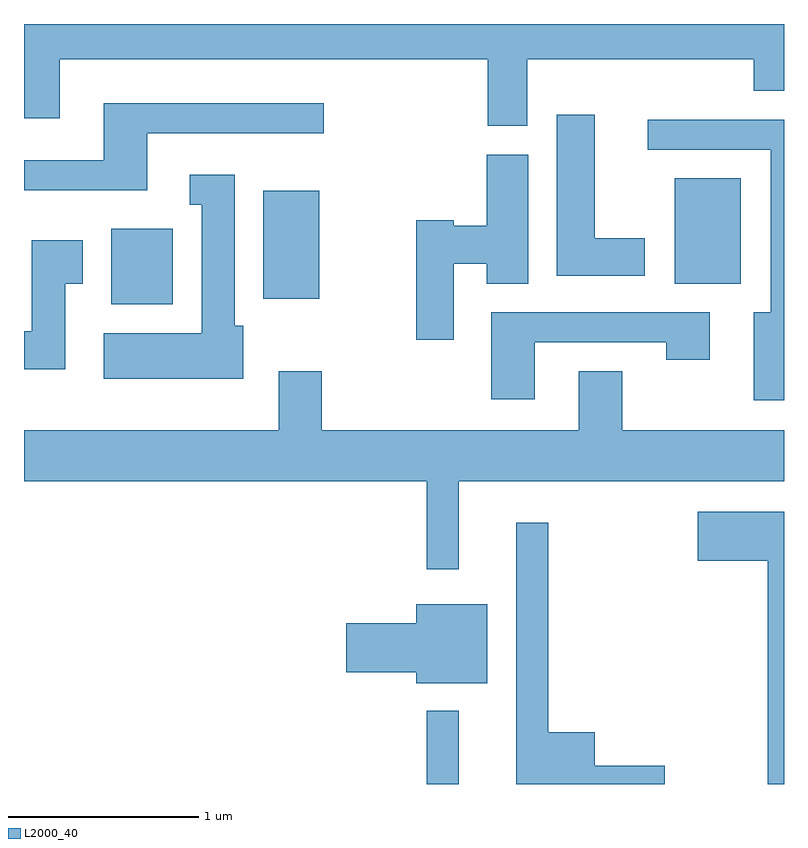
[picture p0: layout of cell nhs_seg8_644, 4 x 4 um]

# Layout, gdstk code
import gdstk
lib = gdstk.Library(unit=1e-6, precision=1e-09)
def R(c, l, rs):  # rectangles x0, y0, x1, y1
    for r in rs: c.add(gdstk.rectangle(r[:2], r[2:], *l))
def P(c, l, *ps):  # polygons
    for p in ps: c.add(gdstk.Polygon(p, *l))
L2000_40 = (2000, 40)

nhs_seg8_644 = lib.new_cell('nhs_seg8_644')
R(nhs_seg8_644, L2000_40, [(205.731,1870.342,205.899,1870.728), (204.071,1872.866,204.394,1873.264), (204.871,1872.896,205.164,1873.464), (207.036,1872.976,207.384,1873.529)])
P(nhs_seg8_644, L2000_40, [(206.259,1874.156),(207.451,1874.156),(207.451,1873.991),(207.611,1873.991),(207.611,1874.342),(203.611,1874.342),(203.611,1873.846),(203.799,1873.846),(203.799,1874.156),(206.051,1874.156),(206.051,1873.806),(206.259,1873.806)],
  [(204.259,1873.766),(205.188,1873.766),(205.188,1873.924),(204.031,1873.924),(204.031,1873.624),(203.611,1873.624),(203.611,1873.466),(204.259,1873.466)],
  [(206.879,1873.214),(206.614,1873.214),(206.614,1873.864),(206.416,1873.864),(206.416,1873.016),(206.879,1873.016)],
  [(207.611,1873.839),(206.893,1873.839),(206.893,1873.681),(207.541,1873.681),(207.541,1872.824),(207.451,1872.824),(207.451,1872.361),(207.611,1872.361)],
  [(205.874,1873.081),(206.046,1873.081),(206.046,1872.976),(206.264,1872.976),(206.264,1873.654),(206.046,1873.654),(206.046,1873.279),(205.874,1873.279),(205.874,1873.309),(205.676,1873.309),(205.676,1872.681),(205.874,1872.681)],
  [(204.764,1872.754),(204.719,1872.754),(204.719,1873.549),(204.483,1873.549),(204.483,1873.391),(204.546,1873.391),(204.546,1872.714),(204.031,1872.714),(204.031,1872.476),(204.764,1872.476)],
  [(203.829,1872.976),(203.919,1872.976),(203.919,1873.204),(203.651,1873.204),(203.651,1872.724),(203.611,1872.724),(203.611,1872.526),(203.829,1872.526)],
  [(206.299,1872.666),(206.991,1872.666),(206.991,1872.576),(207.219,1872.576),(207.219,1872.824),(206.071,1872.824),(206.071,1872.366),(206.299,1872.366)],
  [(205.899,1871.936),(207.611,1871.936),(207.611,1872.204),(206.759,1872.204),(206.759,1872.514),(206.531,1872.514),(206.531,1872.204),(205.179,1872.204),(205.179,1872.514),(204.951,1872.514),(204.951,1872.204),(203.611,1872.204),(203.611,1871.936),(205.731,1871.936),(205.731,1871.473),(205.899,1871.473)],
  [(207.611,1871.774),(207.156,1871.774),(207.156,1871.516),(207.526,1871.516),(207.526,1870.342),(207.611,1870.342)],
  [(206.984,1870.439),(206.614,1870.439),(206.614,1870.614),(206.369,1870.614),(206.369,1871.718),(206.201,1871.718),(206.201,1870.342),(206.984,1870.342)],
  [(206.049,1871.289),(205.676,1871.289),(205.676,1871.189),(205.306,1871.189),(205.306,1870.931),(205.676,1870.931),(205.676,1870.871),(206.049,1870.871)])

lib.write_gds('nhs_seg8_644.gds')
